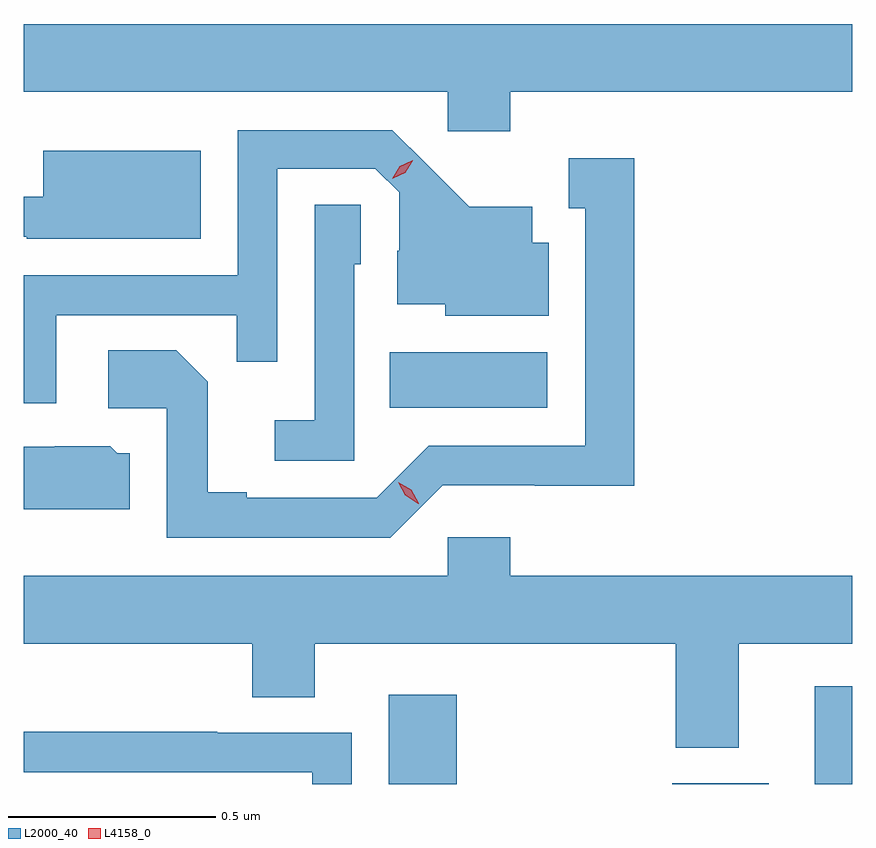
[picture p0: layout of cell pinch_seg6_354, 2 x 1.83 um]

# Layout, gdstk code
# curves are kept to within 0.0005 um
import gdstk
lib = gdstk.Library(unit=1e-6, precision=1e-09)
def R(c, l, rs):  # rectangles x0, y0, x1, y1
    for r in rs: c.add(gdstk.rectangle(r[:2], r[2:], *l))
def P(c, l, *ps):  # polygons
    for p in ps: c.add(gdstk.Polygon(p, *l))
L2000_40 = (2000, 40)
L4158_0 = (4158, 0)

pinch_seg6_354 = lib.new_cell('pinch_seg6_354')
R(pinch_seg6_354, L2000_40, [(744.314,944.333,744.478,944.548), (744.998,944.333,745.231,944.335), (745.343,944.333,745.433,944.569), (744.316,945.242,744.697,945.376)])
P(pinch_seg6_354, L2000_40, [(744.608,946.004),(745.433,946.004),(745.433,946.168),(743.433,946.168),(743.433,946.004),(744.456,946.004),(744.456,945.909),(744.608,945.909)],
  [(743.511,945.465),(743.947,945.465),(743.947,945.352),(744.045,945.352),(744.045,945.819),(744.282,945.819),(744.339,945.762),(744.339,945.62),(744.335,945.62),(744.335,945.491),(744.45,945.491),(744.45,945.464),(744.7,945.464),(744.7,945.64),(744.661,945.64),(744.661,945.727),(744.509,945.727),(744.322,945.912),(743.949,945.912),(743.949,945.561),(743.433,945.561),(743.433,945.252),(743.511,945.252)],
  [(743.86,945.862),(743.48,945.862),(743.48,945.751),(743.433,945.751),(743.433,945.654),(743.44,945.654),(743.44,945.65),(743.86,945.65)],
  [(744.444,945.054),(744.666,945.054),(744.666,945.053),(744.907,945.053),(744.907,945.844),(744.749,945.844),(744.749,945.723),(744.788,945.723),(744.788,945.15),(744.411,945.15),(744.285,945.024),(743.971,945.024),(743.971,945.037),(743.877,945.037),(743.877,945.304),(743.801,945.38),(743.637,945.38),(743.637,945.24),(743.778,945.24),(743.778,944.928),(744.318,944.928)],
  [(744.231,945.588),(744.246,945.588),(744.246,945.731),(744.135,945.731),(744.135,945.211),(744.039,945.211),(744.039,945.114),(744.231,945.114)],
  [(743.689,945.132),(743.658,945.132),(743.642,945.148),(743.508,945.148),(743.508,945.147),(743.433,945.147),(743.433,944.996),(743.689,944.996)],
  [(745.159,944.672),(745.433,944.672),(745.433,944.836),(744.608,944.836),(744.608,944.929),(744.456,944.929),(744.456,944.836),(743.433,944.836),(743.433,944.672),(743.984,944.672),(743.984,944.542),(744.136,944.542),(744.136,944.672),(745.007,944.672),(745.007,944.42),(745.159,944.42)],
  [(744.225,944.457),(743.9,944.457),(743.9,944.459),(743.433,944.459),(743.433,944.361),(744.129,944.361),(744.129,944.333),(744.225,944.333)])
P(pinch_seg6_354, L4158_0, [(744.385,945.01),(744.354,945.03),(744.337,945.062),(744.337,945.062),(744.337,945.062),(744.368,945.043),(744.386,945.011),(744.386,945.01)],
  [(744.323,945.794),(744.323,945.794),(744.341,945.824),(744.372,945.839),(744.372,945.839),(744.372,945.838),(744.354,945.809),(744.323,945.794)])

lib.write_gds('pinch_seg6_354.gds')
